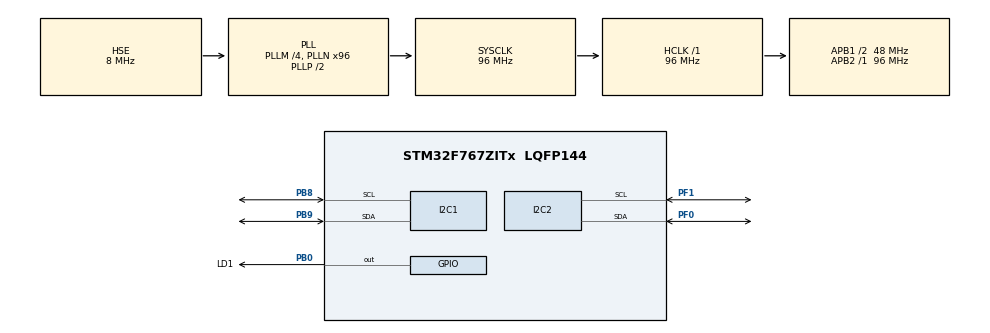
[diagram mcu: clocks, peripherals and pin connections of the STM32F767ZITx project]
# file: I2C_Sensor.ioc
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I2C1.Timing=0x20303E5D
I2C2.Timing=0x20303E5D
Mcu.Family=STM32F7
Mcu.Name=STM32F767ZITx
Mcu.Package=LQFP144
NVIC.PriorityGroup=NVIC_PRIORITYGROUP_4
PA13.Mode=Serial_Wire
PA13.Signal=SYS_JTMS-SWDIO
PA14.Mode=Serial_Wire
PA14.Signal=SYS_JTCK-SWCLK
PB0.GPIO_Label=LD1
PB0.Signal=GPIO_Output
PB8.Mode=I2C
PB8.Signal=I2C1_SCL
PB9.Mode=I2C
PB9.Signal=I2C1_SDA
PF0.Mode=I2C
PF0.Signal=I2C2_SDA
PF1.Mode=I2C
PF1.Signal=I2C2_SCL
PH0/OSC_IN.Mode=HSE-External-Oscillator
PH0/OSC_IN.Signal=RCC_OSC_IN
PH1/OSC_OUT.Mode=HSE-External-Oscillator
PH1/OSC_OUT.Signal=RCC_OSC_OUT
ProjectManager.HeapSize=0x200
ProjectManager.StackSize=0x400
ProjectManager.TargetToolchain=TrueSTUDIO
RCC.48MHZClocksFreq_Value=24000000
RCC.AHBFreq_Value=96000000
RCC.APB1CLKDivider=RCC_HCLK_DIV2
RCC.APB1Freq_Value=48000000
RCC.APB1TimFreq_Value=96000000
RCC.APB2Freq_Value=96000000
RCC.APB2TimFreq_Value=96000000
RCC.CortexFreq_Value=96000000
RCC.HCLKFreq_Value=96000000
RCC.HSE_VALUE=8000000
RCC.HSI_VALUE=16000000
RCC.PLLM=4
RCC.PLLMUL=RCC_PLL_MUL9
RCC.PLLN=96
RCC.PLLQ=4
RCC.PLLSourceVirtual=RCC_PLLSOURCE_HSE
RCC.PRESCALERUSB=RCC_USBCLKSOURCE_PLL_DIV1_5
RCC.SYSCLKFreq_VALUE=96000000
RCC.SYSCLKSource=RCC_SYSCLKSOURCE_PLLCLK
RCC.SYSCLKSourceVirtual=RCC_SYSCLKSOURCE_PLLCLK
RCC.USBFreq_Value=48000000
RCC.VCOOutputFreq_Value=192000000
board=NUCLEO-F767ZI

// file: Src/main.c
/* USER CODE BEGIN Header */
/**
  ******************************************************************************
  * @file           : main.c
  * @brief          : Main program body
  ******************************************************************************
  * @attention
  *
  * <h2><center>&copy; Copyright (c) 2019 STMicroelectronics.
  * All rights reserved.</center></h2>
  *
  * This software component is licensed by ST under BSD 3-Clause license,
  * the "License"; You may not use this file except in compliance with the
  * License. You may obtain a copy of the License at:
  *                        opensource.org/licenses/BSD-3-Clause
  *
  ******************************************************************************
  */
/* USER CODE END Header */

#include "main.h"
#include "stdio.h"
#include "stdlib.h"
#include "string.h"

I2C_HandleTypeDef hi2c1;
I2C_HandleTypeDef hi2c2;

/* USER CODE BEGIN PV */
#define LCDAdress 0x4E
#define i2cHTV21 0x80

 char LCDTemp[16];
 char LCDHumid[16];

unsigned char buffer[5];
unsigned int RawTemp;
float Temperature;

unsigned int Rawhumidity;
float Humidity;
/* USER CODE END PV */

void SystemClock_Config(void);
static void MX_GPIO_Init(void);
static void MX_I2C2_Init(void);
static void MX_I2C1_Init(void);

/* USER CODE BEGIN 0 */
/*explication ds la video youtube de controllers Tech*/
void lcd_send_cmd(char cmd)
{
char data_u, data_l;
uint8_t data_t[4];
data_u = cmd&0xf0;
data_l = (cmd<<4)&0xf0;
data_t[0] = data_u | 0x04;
data_t[1] = data_u;
data_t[2] = data_l |0x04;
data_t[3] = data_l ;

HAL_I2C_Master_Transmit(&hi2c1,LCDAdress,(uint8_t*)data_t,4,100);
}

void lcd_send_data(char data)
{

char data_u, data_l;
uint8_t data_t[4];
data_u = data&0xf0;
data_l = (data<<4)&0xf0;
data_t[0] = data_u|0x05;
data_t[1] = data_u|0x01;
data_t[2] = data_l|0x05;
data_t[3] = data_l|0x01;

HAL_I2C_Master_Transmit(&hi2c1,LCDAdress,(uint8_t*)data_t,4,100);

}

void lcd_init()
{
 lcd_send_cmd(0x02);
 lcd_send_cmd(0x28);
 lcd_send_cmd(0x0c);
 lcd_send_cmd(0x80);
}

void lcd_send_string(char *str)
{

while (*str) lcd_send_data(*str++);
}

uint8_t i2cBuff[25];
/* USER CODE END 0 */

int main(void)
{

  /* MCU Configuration--------------------------------------------------------*/

  /* Reset of all peripherals, Initializes the Flash interface and the Systick. */
  HAL_Init();

  /* Configure the system clock */
  SystemClock_Config();

  /* Initialize all configured peripherals */
  MX_GPIO_Init();
  MX_I2C2_Init();
  MX_I2C1_Init();
  /* USER CODE BEGIN 2 */
  //config acquiistion separately

  lcd_init(); // init lcd

  //lcd_send_cmd(0x80); // cursor to 1 row und 1 col

  buffer[0]= 0x02; // pointer
  buffer[1]= 0;    // MSB
  buffer[2]= 0;    //LSB
  HAL_I2C_Master_Transmit(&hi2c2,i2cHTV21,buffer,2,100);

  /* USER CODE END 2 */

  /* Infinite loop */
  while (1)
  {

    /* USER CODE BEGIN 3 */
	// trigger temp measurement
	  buffer[0]= 0xE3;
	  HAL_I2C_Master_Transmit(&hi2c2,i2cHTV21,buffer,1,100);
	  HAL_Delay(20);

	  HAL_I2C_Master_Receive(&hi2c2,i2cHTV21,buffer,2,100);
	  //buffer[0] : MSB data
	  //buffer[1] : LSB data

	   RawTemp = buffer[0]<<8 | buffer[1] ; //combine 2 8-bit into 1 16bit

	   Temperature = ((float)RawTemp/65536)*175.72 -46.85;

	   // trigger humidity measurement
		  buffer[0]= 0xE5;
		  HAL_I2C_Master_Transmit(&hi2c2,i2cHTV21,buffer,1,100);

		  HAL_Delay(20);

		  HAL_I2C_Master_Receive(&hi2c2,i2cHTV21,buffer,2,100);
		  //buffer[0] : MSB data
		  //buffer[1] : LSB data

		  Rawhumidity = buffer[0]<<8 | buffer[1] ; //combine 2 8-bit into 1 16bit

		  Humidity =-6+125*((float)Rawhumidity/65536);
	   HAL_Delay(100);

gcvt(Temperature,3,LCDTemp); // convert value in string

gcvt(Humidity,3,LCDHumid); // convert value in string

    /*Send data on Display*/
	   	lcd_send_cmd(0x80); //goto 1,1

	   	lcd_send_string("TEMP:");
	   	lcd_send_string(LCDTemp);
	   	lcd_send_string("C");

	   	lcd_send_cmd(0xC0);//goto 2,1?

	   	lcd_send_string("HUMID:");
	   	lcd_send_string(LCDHumid);
	   	lcd_send_string("%");

	   /*HAL_Delay(2000);
	   	lcd_send_cmd(0x01);// clear display
	   	HAL_Delay(1000);*/

  }
  /* USER CODE END 3 */
}

void SystemClock_Config(void)
{
  RCC_OscInitTypeDef RCC_OscInitStruct = {0};
  RCC_ClkInitTypeDef RCC_ClkInitStruct = {0};
  RCC_PeriphCLKInitTypeDef PeriphClkInitStruct = {0};

  /** Configure the main internal regulator output voltage
  */
  __HAL_RCC_PWR_CLK_ENABLE();
  __HAL_PWR_VOLTAGESCALING_CONFIG(PWR_REGULATOR_VOLTAGE_SCALE3);
  /** Initializes the CPU, AHB and APB busses clocks
  */
  RCC_OscInitStruct.OscillatorType = RCC_OSCILLATORTYPE_HSE;
  RCC_OscInitStruct.HSEState = RCC_HSE_ON;
  RCC_OscInitStruct.PLL.PLLState = RCC_PLL_ON;
  RCC_OscInitStruct.PLL.PLLSource = RCC_PLLSOURCE_HSE;
  RCC_OscInitStruct.PLL.PLLM = 4;
  RCC_OscInitStruct.PLL.PLLN = 96;
  RCC_OscInitStruct.PLL.PLLP = RCC_PLLP_DIV2;
  RCC_OscInitStruct.PLL.PLLQ = 4;
  if (HAL_RCC_OscConfig(&RCC_OscInitStruct) != HAL_OK)
  {
    Error_Handler();
  }
  /** Activate the Over-Drive mode
  */
  if (HAL_PWREx_EnableOverDrive() != HAL_OK)
  {
    Error_Handler();
  }
  /** Initializes the CPU, AHB and APB busses clocks
  */
  RCC_ClkInitStruct.ClockType = RCC_CLOCKTYPE_HCLK|RCC_CLOCKTYPE_SYSCLK
                              |RCC_CLOCKTYPE_PCLK1|RCC_CLOCKTYPE_PCLK2;
  RCC_ClkInitStruct.SYSCLKSource = RCC_SYSCLKSOURCE_PLLCLK;
  RCC_ClkInitStruct.AHBCLKDivider = RCC_SYSCLK_DIV1;
  RCC_ClkInitStruct.APB1CLKDivider = RCC_HCLK_DIV2;
  RCC_ClkInitStruct.APB2CLKDivider = RCC_HCLK_DIV1;

  if (HAL_RCC_ClockConfig(&RCC_ClkInitStruct, FLASH_LATENCY_3) != HAL_OK)
  {
    Error_Handler();
  }
  PeriphClkInitStruct.PeriphClockSelection = RCC_PERIPHCLK_I2C1|RCC_PERIPHCLK_I2C2;
  PeriphClkInitStruct.I2c1ClockSelection = RCC_I2C1CLKSOURCE_PCLK1;
  PeriphClkInitStruct.I2c2ClockSelection = RCC_I2C2CLKSOURCE_PCLK1;
  if (HAL_RCCEx_PeriphCLKConfig(&PeriphClkInitStruct) != HAL_OK)
  {
    Error_Handler();
  }
}

static void MX_I2C1_Init(void)
{

  hi2c1.Instance = I2C1;
  hi2c1.Init.Timing = 0x20303E5D;
  hi2c1.Init.OwnAddress1 = 0;
  hi2c1.Init.AddressingMode = I2C_ADDRESSINGMODE_7BIT;
  hi2c1.Init.DualAddressMode = I2C_DUALADDRESS_DISABLE;
  hi2c1.Init.OwnAddress2 = 0;
  hi2c1.Init.OwnAddress2Masks = I2C_OA2_NOMASK;
  hi2c1.Init.GeneralCallMode = I2C_GENERALCALL_DISABLE;
  hi2c1.Init.NoStretchMode = I2C_NOSTRETCH_DISABLE;
  if (HAL_I2C_Init(&hi2c1) != HAL_OK)
  {
    Error_Handler();
  }
  /** Configure Analogue filter
  */
  if (HAL_I2CEx_ConfigAnalogFilter(&hi2c1, I2C_ANALOGFILTER_ENABLE) != HAL_OK)
  {
    Error_Handler();
  }
  /** Configure Digital filter
  */
  if (HAL_I2CEx_ConfigDigitalFilter(&hi2c1, 0) != HAL_OK)
  {
    Error_Handler();
  }

}

static void MX_I2C2_Init(void)
{

  hi2c2.Instance = I2C2;
  hi2c2.Init.Timing = 0x20303E5D;
  hi2c2.Init.OwnAddress1 = 0;
  hi2c2.Init.AddressingMode = I2C_ADDRESSINGMODE_7BIT;
  hi2c2.Init.DualAddressMode = I2C_DUALADDRESS_DISABLE;
  hi2c2.Init.OwnAddress2 = 0;
  hi2c2.Init.OwnAddress2Masks = I2C_OA2_NOMASK;
  hi2c2.Init.GeneralCallMode = I2C_GENERALCALL_DISABLE;
  hi2c2.Init.NoStretchMode = I2C_NOSTRETCH_DISABLE;
  if (HAL_I2C_Init(&hi2c2) != HAL_OK)
  {
    Error_Handler();
  }
  /** Configure Analogue filter
  */
  if (HAL_I2CEx_ConfigAnalogFilter(&hi2c2, I2C_ANALOGFILTER_ENABLE) != HAL_OK)
  {
    Error_Handler();
  }
  /** Configure Digital filter
  */
  if (HAL_I2CEx_ConfigDigitalFilter(&hi2c2, 0) != HAL_OK)
  {
    Error_Handler();
  }

}

static void MX_GPIO_Init(void)
{
  GPIO_InitTypeDef GPIO_InitStruct = {0};

  /* GPIO Ports Clock Enable */
  __HAL_RCC_GPIOF_CLK_ENABLE();
  __HAL_RCC_GPIOH_CLK_ENABLE();
  __HAL_RCC_GPIOB_CLK_ENABLE();
  __HAL_RCC_GPIOA_CLK_ENABLE();

  /*Configure GPIO pin Output Level */
  HAL_GPIO_WritePin(LD1_GPIO_Port, LD1_Pin, GPIO_PIN_RESET);

  /*Configure GPIO pin : LD1_Pin */
  GPIO_InitStruct.Pin = LD1_Pin;
  GPIO_InitStruct.Mode = GPIO_MODE_OUTPUT_PP;
  GPIO_InitStruct.Pull = GPIO_NOPULL;
  GPIO_InitStruct.Speed = GPIO_SPEED_FREQ_LOW;
  HAL_GPIO_Init(LD1_GPIO_Port, &GPIO_InitStruct);

}

void Error_Handler(void)
{
}

/************************ (C) COPYRIGHT STMicroelectronics *****END OF FILE****/
